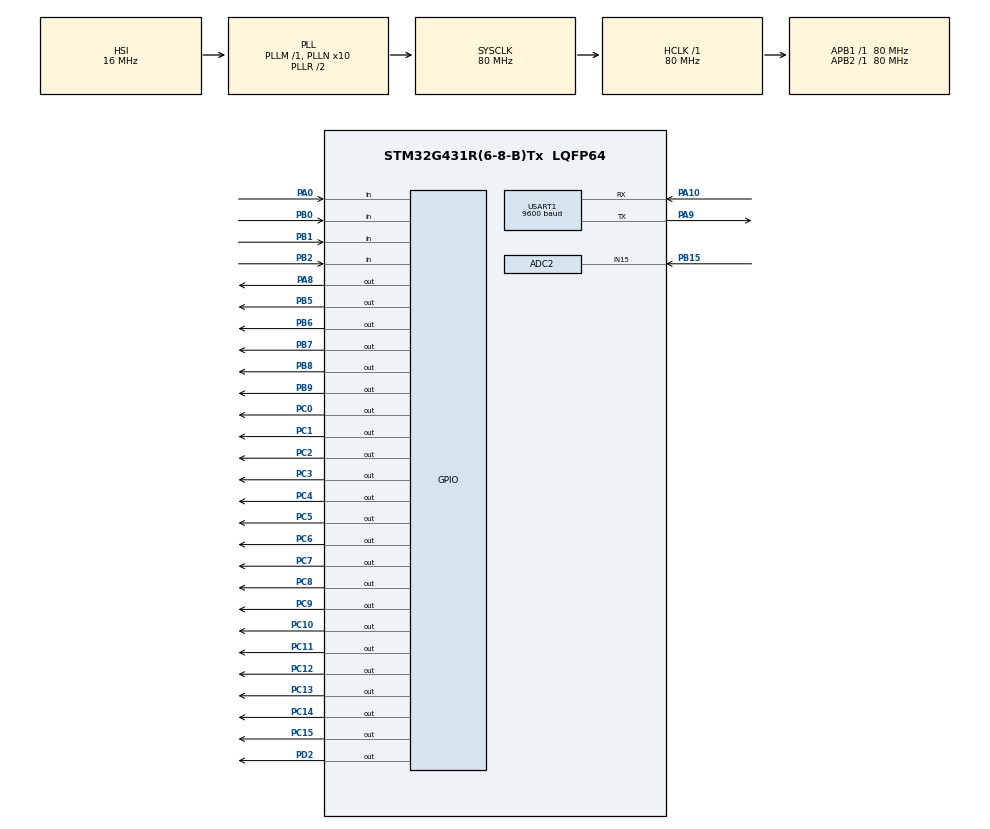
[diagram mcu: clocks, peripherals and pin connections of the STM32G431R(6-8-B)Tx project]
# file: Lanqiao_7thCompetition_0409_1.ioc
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ADC2.Channel-0\#ChannelRegularConversion=ADC_CHANNEL_15
ADC2.DMAContinuousRequests=ENABLE
ADC2.ExternalTrigConv=ADC_EXTERNALTRIG_T3_TRGO
ADC2.NbrOfConversionFlag=1
ADC2.OffsetNumber-0\#ChannelRegularConversion=ADC_OFFSET_NONE
ADC2.Rank-0\#ChannelRegularConversion=1
ADC2.SamplingTime-0\#ChannelRegularConversion=ADC_SAMPLETIME_2CYCLES_5
Dma.ADC2.1.Direction=DMA_PERIPH_TO_MEMORY
Dma.ADC2.1.EventEnable=DISABLE
Dma.ADC2.1.Instance=DMA1_Channel2
Dma.ADC2.1.MemDataAlignment=DMA_MDATAALIGN_HALFWORD
Dma.ADC2.1.MemInc=DMA_MINC_ENABLE
Dma.ADC2.1.Mode=DMA_CIRCULAR
Dma.ADC2.1.PeriphDataAlignment=DMA_PDATAALIGN_HALFWORD
Dma.ADC2.1.PeriphInc=DMA_PINC_DISABLE
Dma.ADC2.1.Polarity=HAL_DMAMUX_REQ_GEN_RISING
Dma.ADC2.1.Priority=DMA_PRIORITY_LOW
Dma.ADC2.1.RequestNumber=1
Dma.ADC2.1.SignalID=NONE
Dma.ADC2.1.SyncEnable=DISABLE
Dma.ADC2.1.SyncPolarity=HAL_DMAMUX_SYNC_NO_EVENT
Dma.ADC2.1.SyncRequestNumber=1
Dma.ADC2.1.SyncSignalID=NONE
Dma.Request0=USART1_RX
Dma.Request1=ADC2
Dma.USART1_RX.0.Direction=DMA_PERIPH_TO_MEMORY
Dma.USART1_RX.0.EventEnable=DISABLE
Dma.USART1_RX.0.Instance=DMA1_Channel1
Dma.USART1_RX.0.MemDataAlignment=DMA_MDATAALIGN_BYTE
Dma.USART1_RX.0.MemInc=DMA_MINC_ENABLE
Dma.USART1_RX.0.Mode=DMA_CIRCULAR
Dma.USART1_RX.0.PeriphDataAlignment=DMA_PDATAALIGN_BYTE
Dma.USART1_RX.0.PeriphInc=DMA_PINC_DISABLE
Dma.USART1_RX.0.Polarity=HAL_DMAMUX_REQ_GEN_RISING
Dma.USART1_RX.0.Priority=DMA_PRIORITY_LOW
Dma.USART1_RX.0.RequestNumber=1
Dma.USART1_RX.0.SignalID=NONE
Dma.USART1_RX.0.SyncEnable=DISABLE
Dma.USART1_RX.0.SyncPolarity=HAL_DMAMUX_SYNC_NO_EVENT
Dma.USART1_RX.0.SyncRequestNumber=1
Dma.USART1_RX.0.SyncSignalID=NONE
Mcu.Family=STM32G4
Mcu.Name=STM32G431R(6-8-B)Tx
Mcu.Package=LQFP64
NVIC.ADC1_2_IRQn=true\:3\:0\:true\:false\:true\:true\:true
NVIC.DMA1_Channel1_IRQn=true\:0\:0\:false\:false\:true\:false\:true
NVIC.DMA1_Channel2_IRQn=true\:0\:0\:false\:false\:true\:false\:true
NVIC.PriorityGroup=NVIC_PRIORITYGROUP_4
NVIC.TIM2_IRQn=true\:5\:0\:true\:false\:true\:true\:true
NVIC.TIM3_IRQn=true\:4\:0\:true\:false\:true\:true\:true
NVIC.TIM4_IRQn=true\:7\:0\:true\:false\:true\:true\:true
NVIC.TIM6_DAC_IRQn=true\:6\:0\:true\:false\:true\:true\:true
NVIC.USART1_IRQn=true\:2\:0\:true\:false\:true\:true\:true
PA0.Signal=GPIO_Input
PA10.Mode=Asynchronous
PA10.Signal=USART1_RX
PA8.Signal=GPIO_Output
PA9.Mode=Asynchronous
PA9.Signal=USART1_TX
PB0.Signal=GPIO_Input
PB1.Signal=GPIO_Input
PB15.Mode=IN15-Single-Ended
PB15.Signal=ADC2_IN15
PB2.Signal=GPIO_Input
PB5.Signal=GPIO_Output
PB6.Signal=GPIO_Output
PB7.Signal=GPIO_Output
PB8-BOOT0.Signal=GPIO_Output
PB9.Signal=GPIO_Output
PC0.Signal=GPIO_Output
PC1.Signal=GPIO_Output
PC10.Signal=GPIO_Output
PC11.Signal=GPIO_Output
PC12.Signal=GPIO_Output
PC13.Signal=GPIO_Output
PC14-OSC32_IN.Signal=GPIO_Output
PC15-OSC32_OUT.Signal=GPIO_Output
PC2.Signal=GPIO_Output
PC3.Signal=GPIO_Output
PC4.Signal=GPIO_Output
PC5.Signal=GPIO_Output
PC6.Signal=GPIO_Output
PC7.Signal=GPIO_Output
PC8.Signal=GPIO_Output
PC9.Signal=GPIO_Output
PD2.Signal=GPIO_Output
ProjectManager.HeapSize=0x200
ProjectManager.StackSize=0x400
ProjectManager.TargetToolchain=MDK-ARM V5
RCC.ADC12Freq_Value=80000000
RCC.AHBFreq_Value=80000000
RCC.APB1Freq_Value=80000000
RCC.APB1TimFreq_Value=80000000
RCC.APB2Freq_Value=80000000
RCC.APB2TimFreq_Value=80000000
RCC.CortexFreq_Value=80000000
RCC.EXTERNAL_CLOCK_VALUE=12288000
RCC.HCLKFreq_Value=80000000
RCC.HSE_VALUE=8000000
RCC.HSI48_VALUE=48000000
RCC.HSI_VALUE=16000000
RCC.LSE_VALUE=32768
RCC.PLLN=10
RCC.SYSCLKFreq_VALUE=80000000
RCC.SYSCLKSource=RCC_SYSCLKSOURCE_PLLCLK
RCC.USBFreq_Value=80000000
RCC.VCOOutputFreq_Value=160000000
TIM2.PeriodNoDither=1999
TIM2.Prescaler=7999
TIM3.PeriodNoDither=9999
TIM3.Prescaler=7999
TIM3.TIM_MasterOutputTrigger=TIM_TRGO_UPDATE
TIM4.PeriodNoDither=1999
TIM4.Prescaler=7999
TIM6.PeriodNoDither=9999
TIM6.Prescaler=7999
USART1.BaudRate=9600
USART1.VirtualMode-Asynchronous=VM_ASYNC
VP_SYS_VS_DBSignals.Mode=DisableDeadBatterySignals
VP_TIM2_VS_ClockSourceINT.Mode=Internal
VP_TIM3_VS_ClockSourceINT.Mode=Internal
VP_TIM4_VS_ClockSourceINT.Mode=Internal
VP_TIM6_VS_ClockSourceINT.Mode=Enable_Timer
board=custom

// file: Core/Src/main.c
/* USER CODE BEGIN Header */
/**
  ******************************************************************************
  * @file           : main.c
  * @brief          : Main program body
  ******************************************************************************
  * @attention
  *
  * <h2><center>&copy; Copyright (c) 2021 STMicroelectronics.
  * All rights reserved.</center></h2>
  *
  * This software component is licensed by ST under BSD 3-Clause license,
  * the "License"; You may not use this file except in compliance with the
  * License. You may obtain a copy of the License at:
  *                        opensource.org/licenses/BSD-3-Clause
  *
  ******************************************************************************
  */
/* USER CODE END Header */
#include "main.h"
#include "adc.h"
#include "dma.h"
#include "tim.h"
#include "usart.h"
#include "gpio.h"

/* USER CODE BEGIN Includes */
#include "stdio.h"
#include "string.h"
#include "i2c.h"
#include "lcd.h"
/* USER CODE END Includes */

/* USER CODE BEGIN PD */
#define print(X) HAL_UART_Transmit(&huart1,(uint8_t *)X,strlen(X),1000);
/* USER CODE END PD */

/* USER CODE BEGIN PM */
void x24c02_write(u8 address,u8 data)
{
	I2CStart();
	I2CSendByte(0xa0);
	I2CWaitAck();
	I2CSendByte(address);
	I2CWaitAck();
	I2CSendByte(data);
	I2CWaitAck();
	I2CStop();
}
u8 x24c02_read(u8 address)
{
	I2CStart();
	I2CSendByte(0xa0);
	I2CWaitAck();
	I2CSendByte(address);
	I2CWaitAck();
	I2CStart();
	I2CSendByte(0xa1);
	I2CWaitAck();
	u8 val=I2CReceiveByte();
	I2CStop();
	return val;
}
/* USER CODE END PM */

/* USER CODE BEGIN PV */
char ttry[30],showADC[22],showLevel[22],showHeight[22],setlow[22],setmid[22],sethigh[22],outt[20];
float adc_value,height;
uint16_t ADC_Value[1],level,adc_flag=0,low=30,high=70,mid=50,previousk;
uint8_t issetting=0,rxbuff; // 判断当前是否是设置状态
uint8_t selectState=1;   // 判断当前要调整的参数，1：low；2：mid；3：high
uint16_t times2,times3;   // 判断令LD2，LD3闪烁的中断执行了几次
uint16_t light1,light2,light3; // 判断要闪的灯的状态
uint16_t ld2_flag,ld3_flag; // 判断当前灯是否要闪
uint16_t first=1;  // 判断是否第一次过主循环
/* USER CODE END PV */

void SystemClock_Config(void);
/* USER CODE BEGIN PFP */
void keyscan()
{
	if (HAL_GPIO_ReadPin(GPIOB,GPIO_PIN_0)==GPIO_PIN_RESET)
	{
		while (HAL_GPIO_ReadPin(GPIOB,GPIO_PIN_0)==GPIO_PIN_RESET);
		if (issetting)
		{
			LCD_DisplayStringLine(Line0,(uint8_t *)"                    ");
			LCD_DisplayStringLine(Line1,(uint8_t *)"  Liquid Level      ");
			LCD_DisplayStringLine(Line2,(uint8_t *)"                    ");
			LCD_DisplayStringLine(Line4,(uint8_t *)"                    ");
			LCD_DisplayStringLine(Line6,(uint8_t *)"                    ");
			LCD_DisplayStringLine(Line8,(uint8_t *)"                    ");
			LCD_DisplayStringLine(Line9,(uint8_t *)"                    ");
			sprintf(showHeight,"  Height:%dcm        ",(int)height);
			LCD_DisplayStringLine(Line3,(uint8_t *)showHeight);
			sprintf(showADC,"  ADC:%.2fV         ",adc_value);
			LCD_DisplayStringLine(Line5,(uint8_t *)showADC);
			sprintf(showLevel,"  Level:%u            ",level);
			LCD_DisplayStringLine(Line7,(uint8_t *)showLevel);
		}
		else
		{
			LCD_DisplayStringLine(Line1,(uint8_t *)"  Parameter Setup   ");
			LCD_SetTextColor(Red);
			sprintf(setlow,"  Threshold1:%ucm     ",low);
			LCD_DisplayStringLine(Line3,(uint8_t *)setlow);
			LCD_SetTextColor(White);
			sprintf(setmid,"  Threshold2:%ucm     ",mid);
			LCD_DisplayStringLine(Line5,(uint8_t *)setmid);
			sprintf(sethigh,"  Threshold3:%ucm     ",high);
			LCD_DisplayStringLine(Line7,(uint8_t *)sethigh);
		}
		issetting=!issetting;
	}
	if (HAL_GPIO_ReadPin(GPIOB,GPIO_PIN_1)==GPIO_PIN_RESET)
	{
		while (HAL_GPIO_ReadPin(GPIOB,GPIO_PIN_1)==GPIO_PIN_RESET);
		if (issetting)
		{
			selectState++;
		if (selectState==4)
			selectState=1;
		switch (selectState)
		{
			case 1:
			{
				LCD_SetTextColor(Red);
				sprintf(setlow,"  Threshold1:%ucm     ",low);
				LCD_DisplayStringLine(Line3,(uint8_t *)setlow);
				LCD_SetTextColor(White);
				sprintf(sethigh,"  Threshold3:%ucm     ",high);
				LCD_DisplayStringLine(Line7,(uint8_t *)sethigh);
				break;
			}
			case 2:
			{
				LCD_SetTextColor(Red);
				sprintf(setmid,"  Threshold2:%ucm     ",mid);
				LCD_DisplayStringLine(Line5,(uint8_t *)setmid);
				LCD_SetTextColor(White);
				sprintf(setlow,"  Threshold1:%ucm     ",low);
				LCD_DisplayStringLine(Line3,(uint8_t *)setlow);
				break;
			}
			case 3:
			{
				LCD_SetTextColor(Red);
				sprintf(sethigh,"  Threshold3:%ucm     ",high);
				LCD_DisplayStringLine(Line7,(uint8_t *)sethigh);
				LCD_SetTextColor(White);
				sprintf(setmid,"  Threshold2:%ucm     ",mid);
				LCD_DisplayStringLine(Line5,(uint8_t *)setmid);
				break;
			}
		}
		}

	}
	if (HAL_GPIO_ReadPin(GPIOB,GPIO_PIN_2)==GPIO_PIN_RESET)
	{
		while (HAL_GPIO_ReadPin(GPIOB,GPIO_PIN_2)==GPIO_PIN_RESET);
		if (issetting)
		{
			switch (selectState)
			{
				case 1:
				{
					if (low<=90)
						low+=5;
					x24c02_write(0x88,low);
					LCD_SetTextColor(Red);
					sprintf(setlow,"  Threshold1:%ucm     ",low);
					LCD_DisplayStringLine(Line3,(uint8_t *)setlow);
					LCD_SetTextColor(White);
					break;
				}
			  case 2:
				{
					if (mid<=90)
						mid+=5;
					x24c02_write(0x89,mid);
					LCD_SetTextColor(Red);
					sprintf(setmid,"  Threshold2:%ucm     ",mid);
					LCD_DisplayStringLine(Line5,(uint8_t *)setmid);
					LCD_SetTextColor(White);
					break;
				}
				case 3:
				{
					if (high<=90)
						high+=5;
					x24c02_write(0x90,high);
					LCD_SetTextColor(Red);
					sprintf(sethigh,"  Threshold3:%ucm     ",high);
					LCD_DisplayStringLine(Line7,(uint8_t *)sethigh);
					LCD_SetTextColor(White);
					break;
				}
			}
		}
	}
	if (HAL_GPIO_ReadPin(GPIOA,GPIO_PIN_0)==GPIO_PIN_RESET)
	{
		while (HAL_GPIO_ReadPin(GPIOA,GPIO_PIN_0)==GPIO_PIN_RESET);
		if (issetting)
		{
			switch (selectState)
			{
				case 1:
				{
					if (low>=10)
						low-=5;
					x24c02_write(0x88,low);
					LCD_SetTextColor(Red);
					sprintf(setlow,"  Threshold1:%ucm     ",low);
					LCD_DisplayStringLine(Line3,(uint8_t *)setlow);
					LCD_SetTextColor(White);
					break;
				}
			  case 2:
				{
					if (mid>=10)
						mid-=5;
					x24c02_write(0x89,mid);
					LCD_SetTextColor(Red);
					sprintf(setmid,"  Threshold2:%ucm     ",mid);
					LCD_DisplayStringLine(Line5,(uint8_t *)setmid);
					LCD_SetTextColor(White);
					break;
				}
				case 3:
				{
					if (high>=10)
						high-=5;
					x24c02_write(0x90,high);
					LCD_SetTextColor(Red);
					sprintf(sethigh,"  Threshold3:%ucm     ",high);
					LCD_DisplayStringLine(Line7,(uint8_t *)sethigh);
					LCD_SetTextColor(White);
					break;
				}
			}
		}
	}
}
void exeadc()
{
		adc_value=(float)ADC_Value[0]/4096.0*3.3;
		height=adc_value/3.3*100;
		sprintf(showHeight,"  Height:%dcm        ",(int)height);
		LCD_DisplayStringLine(Line3,(uint8_t *)showHeight);
		sprintf(showADC,"  ADC:%.2fV         ",adc_value);
		LCD_DisplayStringLine(Line5,(uint8_t *)showADC);
		if (height<=low)
		{
			level=0;
		}
		else if (height<=mid)
		{
			level=1;
		}
		else if (height<=high)
		{
			level=2;
		}
		else
		{
			level=3;
		}
}
/* USER CODE END PFP */

int main(void)
{

  /* MCU Configuration--------------------------------------------------------*/

  /* Reset of all peripherals, Initializes the Flash interface and the Systick. */
  HAL_Init();

  /* Configure the system clock */
  SystemClock_Config();

  /* Initialize all configured peripherals */
  MX_GPIO_Init();
  MX_DMA_Init();
  MX_ADC2_Init();
  MX_USART1_UART_Init();
  MX_TIM3_Init();
  MX_TIM2_Init();
  MX_TIM6_Init();
  MX_TIM4_Init();
  /* USER CODE BEGIN 2 */
	LCD_Init();
	LCD_SetBackColor(Black);
	LCD_SetTextColor(White);
	HAL_TIM_Base_Start(&htim3);
	HAL_TIM_Base_Start_IT(&htim6);
	HAL_TIM_Base_Start_IT(&htim2);
	HAL_ADC_Start_DMA(&hadc2,(uint32_t *)ADC_Value,1);
	LCD_DisplayStringLine(Line1,(uint8_t *)"  Liquid Level      ");
	LCD_DisplayStringLine(Line2,(uint8_t *)"                    ");
	LCD_DisplayStringLine(Line4,(uint8_t *)"                    ");
	LCD_DisplayStringLine(Line6,(uint8_t *)"                    ");
	LCD_DisplayStringLine(Line8,(uint8_t *)"                    ");
	LCD_DisplayStringLine(Line9,(uint8_t *)"                    ");
	LCD_DisplayStringLine(Line0,(uint8_t *)"                    ");
	previousk=level;
	GPIOC->BSRR=0x0000FF00;
	HAL_GPIO_WritePin(GPIOD,GPIO_PIN_2,GPIO_PIN_SET);
	HAL_GPIO_WritePin(GPIOD,GPIO_PIN_2,GPIO_PIN_RESET);
	if (x24c02_read(0x24)!=42 && x24c02_read(0x35)!=53 && x24c02_read(0x67)!=76)
	{
		x24c02_write(0x24,42);
		x24c02_write(0x35,53);
		x24c02_write(0x67,76);
		x24c02_write(0x88,low);
		x24c02_write(0x89,mid);
		x24c02_write(0x90,high);
	}
	HAL_UART_Receive_DMA(&huart1,&rxbuff,1);
  /* USER CODE END 2 */

  /* Infinite loop */
  /* USER CODE BEGIN WHILE */
  while (1)
  {
		keyscan();
		if ((adc_flag)&&(!issetting))
		{
			exeadc();
			if ((previousk!=level)&&(!first))
			{
				ld2_flag=1;
				if (level>previousk)
				{
					sprintf(outt,"A:H%u+L%u+U\r\n",(uint16_t)height,level);
					print(outt)
				}
				else
				{
					sprintf(outt,"A:H%u+L%u+D\r\n",(uint16_t)height,level);
					print(outt)
				}
			}
			if (first)
				first=0;
			previousk=level;
			sprintf(showLevel,"  Level:%u            ",level);
			LCD_DisplayStringLine(Line7,(uint8_t *)showLevel);
			adc_flag=0;
		}
		if (ld2_flag && ld3_flag)
		{
			if (light1)
				HAL_GPIO_WritePin(GPIOC,GPIO_PIN_8,GPIO_PIN_RESET);
			else
				HAL_GPIO_WritePin(GPIOC,GPIO_PIN_8,GPIO_PIN_SET);
			if (light2)
				HAL_GPIO_WritePin(GPIOC,GPIO_PIN_9,GPIO_PIN_RESET);
			else
				HAL_GPIO_WritePin(GPIOC,GPIO_PIN_9,GPIO_PIN_SET);
			if (light3)
				HAL_GPIO_WritePin(GPIOC,GPIO_PIN_10,GPIO_PIN_RESET);
			else
				HAL_GPIO_WritePin(GPIOC,GPIO_PIN_10,GPIO_PIN_SET);
			GPIOC->BSRR=0x0000F800;
			HAL_GPIO_WritePin(GPIOD,GPIO_PIN_2,GPIO_PIN_SET);
			HAL_GPIO_WritePin(GPIOD,GPIO_PIN_2,GPIO_PIN_RESET);
			if (times2==10)
			{
				ld2_flag=0;
				times2=0;
			}
			if (times3==10)
			{
				ld3_flag=0;
				times3=0;
			}
		}
		else if (ld2_flag)
		{
			if (light1)
				HAL_GPIO_WritePin(GPIOC,GPIO_PIN_8,GPIO_PIN_RESET);
			else
				HAL_GPIO_WritePin(GPIOC,GPIO_PIN_8,GPIO_PIN_SET);
			if (light2)
				HAL_GPIO_WritePin(GPIOC,GPIO_PIN_9,GPIO_PIN_RESET);
			else
				HAL_GPIO_WritePin(GPIOC,GPIO_PIN_9,GPIO_PIN_SET);
			GPIOC->BSRR=0x0000FC00;
			HAL_GPIO_WritePin(GPIOD,GPIO_PIN_2,GPIO_PIN_SET);
			HAL_GPIO_WritePin(GPIOD,GPIO_PIN_2,GPIO_PIN_RESET);
			if (times2==10)
			{
				ld2_flag=0;
				times2=0;
			}
		}
		else if (ld3_flag)
		{
			if (light1)
				HAL_GPIO_WritePin(GPIOC,GPIO_PIN_8,GPIO_PIN_RESET);
			else
				HAL_GPIO_WritePin(GPIOC,GPIO_PIN_8,GPIO_PIN_SET);
			if (light3)
				HAL_GPIO_WritePin(GPIOC,GPIO_PIN_10,GPIO_PIN_RESET);
			else
				HAL_GPIO_WritePin(GPIOC,GPIO_PIN_10,GPIO_PIN_SET);
			GPIOC->BSRR=0x0000FA00;
			HAL_GPIO_WritePin(GPIOD,GPIO_PIN_2,GPIO_PIN_SET);
			HAL_GPIO_WritePin(GPIOD,GPIO_PIN_2,GPIO_PIN_RESET);
			if (times3==10)
			{
				ld3_flag=0;
				times3=0;
			}
		}
		else
		{
			if (light1)
				GPIOC->BSRR=0x0100FE00;
			else
				GPIOC->BSRR=0x0000FF00;
			HAL_GPIO_WritePin(GPIOD,GPIO_PIN_2,GPIO_PIN_SET);
			HAL_GPIO_WritePin(GPIOD,GPIO_PIN_2,GPIO_PIN_RESET);
		}
    /* USER CODE END WHILE */

  }
}

void SystemClock_Config(void)
{
  RCC_OscInitTypeDef RCC_OscInitStruct = {0};
  RCC_ClkInitTypeDef RCC_ClkInitStruct = {0};
  RCC_PeriphCLKInitTypeDef PeriphClkInit = {0};

  /** Configure the main internal regulator output voltage
  */
  HAL_PWREx_ControlVoltageScaling(PWR_REGULATOR_VOLTAGE_SCALE1);
  /** Initializes the RCC Oscillators according to the specified parameters
  * in the RCC_OscInitTypeDef structure.
  */
  RCC_OscInitStruct.OscillatorType = RCC_OSCILLATORTYPE_HSI;
  RCC_OscInitStruct.HSIState = RCC_HSI_ON;
  RCC_OscInitStruct.HSICalibrationValue = RCC_HSICALIBRATION_DEFAULT;
  RCC_OscInitStruct.PLL.PLLState = RCC_PLL_ON;
  RCC_OscInitStruct.PLL.PLLSource = RCC_PLLSOURCE_HSI;
  RCC_OscInitStruct.PLL.PLLM = RCC_PLLM_DIV1;
  RCC_OscInitStruct.PLL.PLLN = 10;
  RCC_OscInitStruct.PLL.PLLP = RCC_PLLP_DIV2;
  RCC_OscInitStruct.PLL.PLLQ = RCC_PLLQ_DIV2;
  RCC_OscInitStruct.PLL.PLLR = RCC_PLLR_DIV2;
  if (HAL_RCC_OscConfig(&RCC_OscInitStruct) != HAL_OK)
  {
    Error_Handler();
  }
  /** Initializes the CPU, AHB and APB buses clocks
  */
  RCC_ClkInitStruct.ClockType = RCC_CLOCKTYPE_HCLK|RCC_CLOCKTYPE_SYSCLK
                              |RCC_CLOCKTYPE_PCLK1|RCC_CLOCKTYPE_PCLK2;
  RCC_ClkInitStruct.SYSCLKSource = RCC_SYSCLKSOURCE_PLLCLK;
  RCC_ClkInitStruct.AHBCLKDivider = RCC_SYSCLK_DIV1;
  RCC_ClkInitStruct.APB1CLKDivider = RCC_HCLK_DIV1;
  RCC_ClkInitStruct.APB2CLKDivider = RCC_HCLK_DIV1;

  if (HAL_RCC_ClockConfig(&RCC_ClkInitStruct, FLASH_LATENCY_2) != HAL_OK)
  {
    Error_Handler();
  }
  /** Initializes the peripherals clocks
  */
  PeriphClkInit.PeriphClockSelection = RCC_PERIPHCLK_USART1|RCC_PERIPHCLK_ADC12;
  PeriphClkInit.Usart1ClockSelection = RCC_USART1CLKSOURCE_PCLK2;
  PeriphClkInit.Adc12ClockSelection = RCC_ADC12CLKSOURCE_SYSCLK;
  if (HAL_RCCEx_PeriphCLKConfig(&PeriphClkInit) != HAL_OK)
  {
    Error_Handler();
  }
}

/* USER CODE BEGIN 4 */
void HAL_ADC_ConvCpltCallback(ADC_HandleTypeDef *hadc)
{
	adc_flag=1;
}
void HAL_TIM_PeriodElapsedCallback(TIM_HandleTypeDef *htim)
{
  if (htim->Instance==TIM6)
	{
		light1=!light1;
	}
	if (htim->Instance==TIM2)
	{
		if (ld2_flag)
		{
			light2=!light2;
			times2++;
		}
		if (ld3_flag)
		{
			light3=!light3;
			times3++;
		}
	}
}
void HAL_UART_RxCpltCallback(UART_HandleTypeDef *huart)
{
	ld3_flag=1;
  if (rxbuff=='C')
	{
		sprintf(outt,"C:H%u+L%u\r\n",(uint16_t)height,level);
		print(outt)
	}
	if (rxbuff=='S')
	{
		sprintf(outt,"TL%u+TM%u+TH%u\r\n",low,mid,high);
		print(outt)
	}
	HAL_UART_Receive_DMA(&huart1,&rxbuff,1);
}
/* USER CODE END 4 */

void Error_Handler(void)
{
  __disable_irq();
  while (1)
  {
  }
}

/************************ (C) COPYRIGHT STMicroelectronics *****END OF FILE****/
